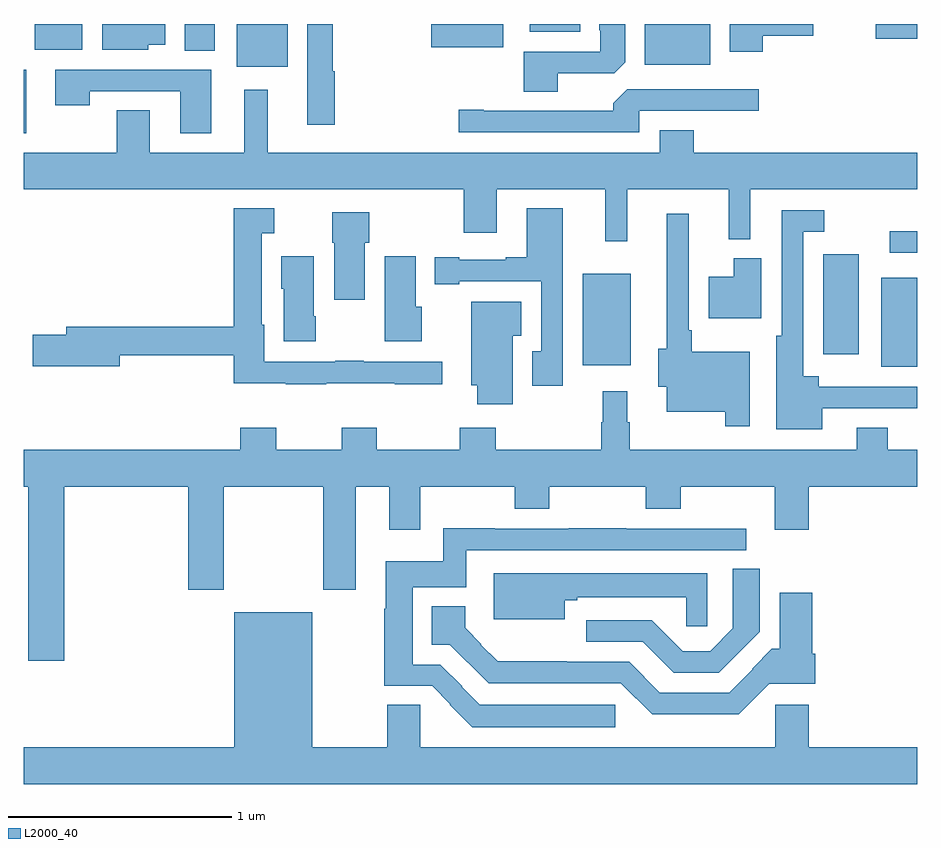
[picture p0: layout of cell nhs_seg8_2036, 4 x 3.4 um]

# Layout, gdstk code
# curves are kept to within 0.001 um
import gdstk
lib = gdstk.Library(unit=1e-6, precision=1e-09)
def R(c, l, rs):  # rectangles x0, y0, x1, y1
    for r in rs: c.add(gdstk.rectangle(r[:2], r[2:], *l))
def P(c, l, *ps):  # polygons
    for p in ps: c.add(gdstk.Polygon(p, *l))
L2000_40 = (2000, 40)

nhs_seg8_2036 = lib.new_cell('nhs_seg8_2036')
R(nhs_seg8_2036, L2000_40, [(242.84,1122.365,243,1122.763), (241.502,1122.371,241.717,1122.781), (242.579,1122.42,242.74,1122.868), (242.877,1122.876,243,1122.972), (239,1123.41,239.011,1123.696), (239.954,1123.709,240.181,1123.9), (241.781,1123.718,242.074,1123.9), (239.72,1123.78,239.854,1123.9), (239.048,1123.784,239.26,1123.9), (240.824,1123.796,241.147,1123.9), (242.814,1123.835,243,1123.9), (241.265,1123.865,241.492,1123.9)])
P(nhs_seg8_2036, L2000_40, [(241.39,1123.68),(241.644,1123.68),(241.693,1123.729),(241.693,1123.9),(241.577,1123.9),(241.577,1123.873),(241.581,1123.873),(241.581,1123.776),(241.238,1123.776),(241.238,1123.597),(241.39,1123.597)],
  [(242.309,1123.847),(242.536,1123.847),(242.536,1123.9),(242.162,1123.9),(242.162,1123.776),(242.309,1123.776)],
  [(240.391,1123.688),(240.383,1123.688),(240.383,1123.9),(240.269,1123.9),(240.269,1123.449),(240.391,1123.449)],
  [(239.556,1123.808),(239.632,1123.808),(239.632,1123.9),(239.351,1123.9),(239.351,1123.784),(239.556,1123.784)],
  [(239.839,1123.695),(239.139,1123.695),(239.139,1123.536),(239.295,1123.536),(239.295,1123.599),(239.699,1123.599),(239.699,1123.41),(239.839,1123.41)],
  [(241.755,1123.512),(242.29,1123.512),(242.29,1123.608),(241.701,1123.608),(241.64,1123.546),(241.64,1123.512),(241.06,1123.512),(241.06,1123.517),(240.948,1123.517),(240.948,1123.416),(241.755,1123.416)],
  [(241.703,1123.16),(242.156,1123.16),(242.156,1122.935),(242.254,1122.935),(242.254,1123.16),(243,1123.16),(243,1123.324),(242,1123.324),(242,1123.423),(241.847,1123.423),(241.847,1123.324),(240.091,1123.324),(240.091,1123.606),(239.987,1123.606),(239.987,1123.324),(239.563,1123.324),(239.563,1123.514),(239.416,1123.514),(239.416,1123.324),(239,1123.324),(239,1123.16),(240.97,1123.16),(240.97,1122.966),(241.117,1122.966),(241.117,1123.16),(241.604,1123.16),(241.604,1122.927),(241.703,1122.927)],
  [(240.355,1122.29),(240.661,1122.29),(240.661,1122.286),(240.874,1122.286),(240.874,1122.387),(240.521,1122.387),(240.521,1122.392),(240.394,1122.392),(240.394,1122.387),(240.076,1122.387),(240.076,1122.552),(240.064,1122.552),(240.064,1122.962),(240.121,1122.962),(240.121,1123.075),(239.939,1123.075),(239.939,1122.545),(239.189,1122.545),(239.189,1122.509),(239.04,1122.509),(239.04,1122.367),(239.428,1122.367),(239.428,1122.417),(239.939,1122.417),(239.939,1122.29),(240.172,1122.29),(240.172,1122.286),(240.355,1122.286)],
  [(241.413,1122.85),(241.414,1122.85),(241.414,1123.075),(241.253,1123.075),(241.253,1122.856),(241.157,1122.856),(241.157,1122.843),(240.949,1122.843),(240.949,1122.856),(240.839,1122.856),(240.839,1122.735),(240.949,1122.735),(240.949,1122.747),(241.317,1122.747),(241.317,1122.435),(241.277,1122.435),(241.277,1122.279),(241.413,1122.279)],
  [(242.575,1122.18),(243,1122.18),(243,1122.276),(242.56,1122.276),(242.56,1122.322),(242.49,1122.322),(242.49,1122.969),(242.584,1122.969),(242.584,1123.065),(242.394,1123.065),(242.394,1122.504),(242.369,1122.504),(242.369,1122.086),(242.575,1122.086)],
  [(240.526,1122.921),(240.546,1122.921),(240.546,1123.057),(240.38,1123.057),(240.38,1122.921),(240.389,1122.921),(240.389,1122.666),(240.526,1122.666)],
  [(242.25,1122.433),(241.99,1122.433),(241.99,1122.529),(241.977,1122.529),(241.977,1123.051),(241.88,1123.051),(241.88,1122.446),(241.841,1122.446),(241.841,1122.275),(241.88,1122.275),(241.88,1122.164),(242.142,1122.164),(242.142,1122.099),(242.25,1122.099)],
  [(240.781,1122.633),(240.754,1122.633),(240.754,1122.859),(240.617,1122.859),(240.617,1122.479),(240.781,1122.479)],
  [(240.306,1122.592),(240.298,1122.592),(240.298,1122.859),(240.152,1122.859),(240.152,1122.714),(240.164,1122.714),(240.164,1122.48),(240.306,1122.48)],
  [(242.302,1122.85),(242.18,1122.85),(242.18,1122.769),(242.066,1122.769),(242.066,1122.581),(242.302,1122.581)],
  [(241.189,1122.503),(241.228,1122.503),(241.228,1122.655),(241.004,1122.655),(241.004,1122.282),(241.031,1122.282),(241.031,1122.198),(241.189,1122.198)],
  [(239.18,1121.828),(239.735,1121.828),(239.735,1121.367),(239.895,1121.367),(239.895,1121.828),(240.34,1121.828),(240.34,1121.367),(240.487,1121.367),(240.487,1121.828),(240.635,1121.828),(240.635,1121.634),(240.775,1121.634),(240.775,1121.828),(241.198,1121.828),(241.198,1121.729),(241.353,1121.729),(241.353,1121.828),(241.786,1121.828),(241.786,1121.729),(241.941,1121.729),(241.941,1121.828),(242.363,1121.828),(242.363,1121.634),(242.516,1121.634),(242.516,1121.828),(243,1121.828),(243,1121.992),(242.869,1121.992),(242.869,1122.091),(242.729,1122.091),(242.729,1121.992),(241.714,1121.992),(241.714,1122.116),(241.702,1122.116),(241.702,1122.256),(241.593,1122.256),(241.593,1122.116),(241.585,1122.116),(241.585,1121.992),(241.112,1121.992),(241.112,1122.091),(240.952,1122.091),(240.952,1121.992),(240.579,1121.992),(240.579,1122.091),(240.424,1122.091),(240.424,1121.992),(240.129,1121.992),(240.129,1122.091),(239.969,1122.091),(239.969,1121.992),(239,1121.992),(239,1121.828),(239.02,1121.828),(239.02,1121.049),(239.18,1121.049)],
  [(241.648,1120.851),(241.041,1120.851),(240.96,1120.932),(240.962,1120.934),(240.865,1121.031),(240.742,1121.031),(240.742,1121.378),(240.982,1121.378),(240.982,1121.544),(242.236,1121.544),(242.236,1121.64),(241.697,1121.64),(241.697,1121.642),(241.441,1121.642),(241.441,1121.64),(241.109,1121.64),(241.109,1121.642),(240.878,1121.642),(240.878,1121.494),(240.62,1121.494),(240.62,1121.282),(240.613,1121.282),(240.613,1120.935),(240.828,1120.935),(240.909,1120.854),(240.907,1120.852),(241.008,1120.751),(241.648,1120.751)],
  [(242.209,1121.091),(242.296,1121.179),(242.296,1121.459),(242.175,1121.459),(242.175,1121.193),(242.073,1121.091),(241.95,1121.091),(241.812,1121.229),(241.518,1121.229),(241.518,1121.133),(241.772,1121.133),(241.91,1120.995),(242.113,1120.995)],
  [(242.06,1121.44),(241.104,1121.44),(241.104,1121.234),(241.423,1121.234),(241.423,1121.318),(241.479,1121.318),(241.479,1121.333),(241.966,1121.333),(241.966,1121.202),(242.06,1121.202)],
  [(242.337,1120.944),(242.544,1120.944),(242.544,1121.079),(242.531,1121.079),(242.531,1121.353),(242.384,1121.353),(242.384,1121.101),(242.35,1121.101),(242.262,1121.013),(242.265,1121.01),(242.16,1120.905),(241.848,1120.905),(241.71,1121.043),(241.43,1121.043),(241.43,1121.045),(241.121,1121.045),(241.046,1121.119),(241.049,1121.122),(240.976,1121.195),(240.976,1121.293),(240.827,1121.293),(240.827,1121.12),(240.907,1121.12),(241.082,1120.947),(241.674,1120.947),(241.813,1120.808),(242.201,1120.808)],
  [(243,1120.66),(242.516,1120.66),(242.516,1120.851),(242.365,1120.851),(242.365,1120.66),(240.774,1120.66),(240.774,1120.85),(240.628,1120.85),(240.628,1120.66),(240.292,1120.66),(240.292,1121.266),(239.942,1121.266),(239.942,1120.66),(239,1120.66),(239,1120.496),(243,1120.496)])

lib.write_gds('nhs_seg8_2036.gds')
